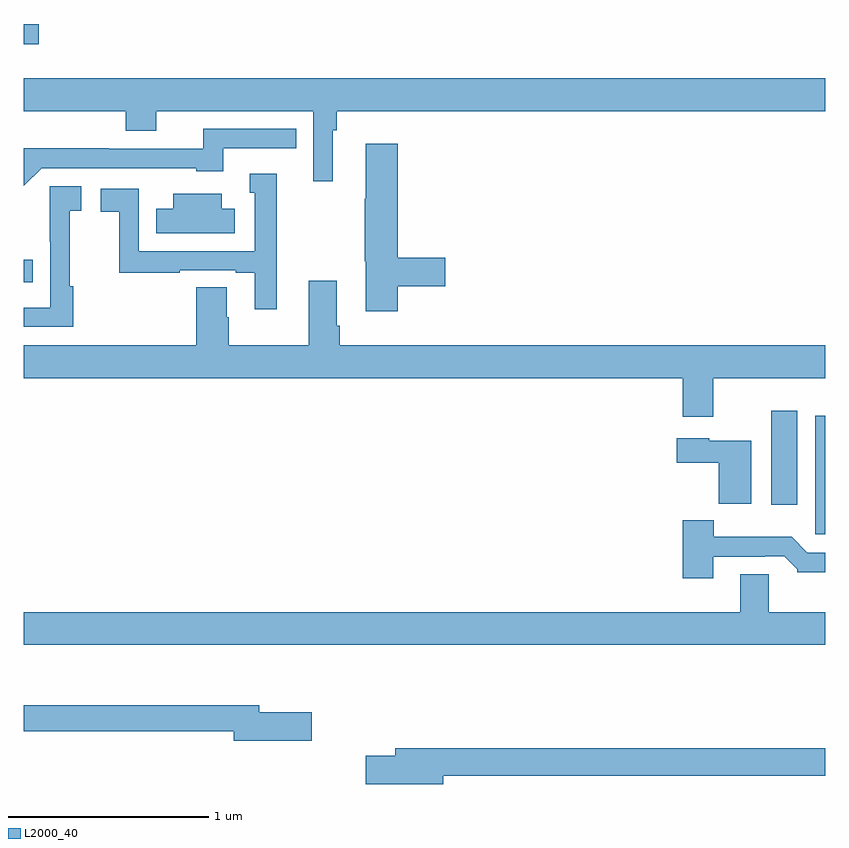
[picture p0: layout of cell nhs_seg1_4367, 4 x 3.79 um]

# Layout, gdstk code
import gdstk
lib = gdstk.Library(unit=1e-6, precision=1e-09)
def R(c, l, rs):  # rectangles x0, y0, x1, y1
    for r in rs: c.add(gdstk.rectangle(r[:2], r[2:], *l))
def P(c, l, *ps):  # polygons
    for p in ps: c.add(gdstk.Polygon(p, *l))
L2000_40 = (2000, 40)

nhs_seg1_4367 = lib.new_cell('nhs_seg1_4367')
R(nhs_seg1_4367, L2000_40, [(352.949,517.653,353,518.245), (352.73,517.8,352.861,518.269), (349,518.91,349.046,519.023), (349,520.097,349.076,520.199)])
P(nhs_seg1_4367, L2000_40, [(350.542,519.668),(350.561,519.668),(350.561,519.764),(353,519.764),(353,519.928),(349,519.928),(349,519.764),(349.508,519.764),(349.508,519.665),(349.66,519.665),(349.66,519.764),(350.445,519.764),(350.445,519.414),(350.542,519.414)],
  [(349.089,519.48),(349.86,519.48),(349.86,519.464),(349.996,519.464),(349.996,519.579),(350.36,519.579),(350.36,519.675),(349.897,519.675),(349.897,519.576),(349.424,519.576),(349.424,519.578),(349,519.578),(349,519.391)],
  [(350.867,518.89),(351.103,518.89),(351.103,519.032),(350.867,519.032),(350.867,519.601),(350.708,519.601),(350.708,519.326),(350.701,519.326),(350.701,519.015),(350.708,519.015),(350.708,518.766),(350.867,518.766)],
  [(350.263,519.451),(350.129,519.451),(350.129,519.357),(350.154,519.357),(350.154,519.066),(349.575,519.066),(349.575,519.378),(349.383,519.378),(349.383,519.262),(349.477,519.262),(349.477,518.958),(349.778,518.958),(349.778,518.97),(350.057,518.97),(350.057,518.958),(350.153,518.958),(350.153,518.775),(350.263,518.775)],
  [(349.247,518.891),(349.23,518.891),(349.23,519.267),(349.288,519.267),(349.288,519.388),(349.13,519.388),(349.13,519.112),(349.131,519.112),(349.131,518.784),(349,518.784),(349,518.688),(349.247,518.688)],
  [(350.053,519.277),(349.987,519.277),(349.987,519.352),(349.745,519.352),(349.745,519.277),(349.66,519.277),(349.66,519.155),(350.053,519.155)],
  [(352.441,518.432),(353,518.432),(353,518.596),(350.576,518.596),(350.576,518.692),(350.563,518.692),(350.563,518.917),(350.423,518.917),(350.423,518.596),(350.022,518.596),(350.022,518.735),(350.014,518.735),(350.014,518.885),(349.862,518.885),(349.862,518.596),(349,518.596),(349,518.432),(352.289,518.432),(352.289,518.238),(352.441,518.238)],
  [(352.63,518.119),(352.422,518.119),(352.422,518.131),(352.26,518.131),(352.26,518.009),(352.468,518.009),(352.468,517.805),(352.63,517.805)],
  [(352.441,517.539),(352.697,517.539),(352.697,517.542),(352.796,517.542),(352.86,517.478),(352.86,517.463),(353,517.463),(353,517.56),(352.911,517.56),(352.833,517.639),(352.444,517.639),(352.444,517.723),(352.289,517.723),(352.289,517.434),(352.441,517.434)],
  [(353,517.264),(352.717,517.264),(352.717,517.454),(352.577,517.454),(352.577,517.264),(349,517.264),(349,517.1),(353,517.1)],
  [(350.437,516.765),(350.176,516.765),(350.176,516.799),(349,516.799),(349,516.67),(350.048,516.67),(350.048,516.623),(350.437,516.623)],
  [(351.094,516.448),(353,516.448),(353,516.584),(350.855,516.584),(350.855,516.548),(350.706,516.548),(350.706,516.406),(351.094,516.406)])

lib.write_gds('nhs_seg1_4367.gds')
